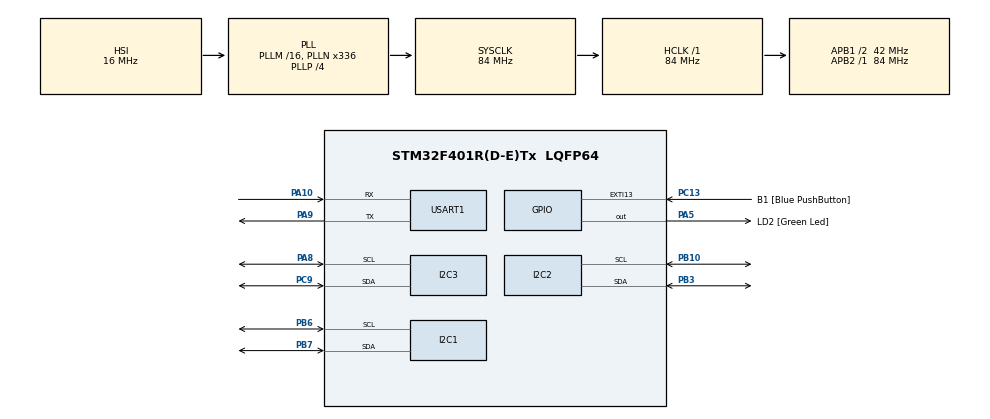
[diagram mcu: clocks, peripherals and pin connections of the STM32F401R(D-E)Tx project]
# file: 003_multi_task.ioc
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Mcu.Family=STM32F4
Mcu.Name=STM32F401R(D-E)Tx
Mcu.Package=LQFP64
NVIC.PriorityGroup=NVIC_PRIORITYGROUP_4
NVIC.TIM1_UP_TIM10_IRQn=true\:15\:0\:false\:false\:true\:false\:true\:true
NVIC.TimeBase=TIM1_UP_TIM10_IRQn
NVIC.TimeBaseIP=TIM1
NVIC.USART1_IRQn=true\:0\:0\:false\:false\:true\:true\:true\:true
PA10.Mode=Asynchronous
PA10.Signal=USART1_RX
PA13.GPIO_Label=TMS
PA13.Mode=Serial_Wire
PA13.Signal=SYS_JTMS-SWDIO
PA14.GPIO_Label=TCK
PA14.Mode=Serial_Wire
PA14.Signal=SYS_JTCK-SWCLK
PA2.GPIO_Label=USART_TX
PA2.GPIO_Mode=GPIO_MODE_AF_PP
PA2.GPIO_PuPd=GPIO_NOPULL
PA2.GPIO_Speed=GPIO_SPEED_FREQ_LOW
PA2.Signal=USART2_TX
PA3.GPIO_Label=USART_RX
PA3.GPIO_Mode=GPIO_MODE_AF_PP
PA3.GPIO_PuPd=GPIO_NOPULL
PA3.GPIO_Speed=GPIO_SPEED_FREQ_LOW
PA3.Signal=USART2_RX
PA5.GPIO_Label=LD2 [Green Led]
PA5.GPIO_Mode=GPIO_MODE_OUTPUT_PP
PA5.GPIO_PuPd=GPIO_NOPULL
PA5.GPIO_Speed=GPIO_SPEED_FREQ_LOW
PA5.Signal=GPIO_Output
PA8.Mode=I2C
PA8.Signal=I2C3_SCL
PA9.Mode=Asynchronous
PA9.Signal=USART1_TX
PB10.Mode=I2C
PB10.Signal=I2C2_SCL
PB3.Mode=I2C
PB3.Signal=I2C2_SDA
PB6.Mode=I2C
PB6.Signal=I2C1_SCL
PB7.Mode=I2C
PB7.Signal=I2C1_SDA
PC13-ANTI_TAMP.GPIO_Label=B1 [Blue PushButton]
PC13-ANTI_TAMP.GPIO_ModeDefaultEXTI=GPIO_MODE_IT_FALLING
PC13-ANTI_TAMP.GPIO_PuPd=GPIO_NOPULL
PC13-ANTI_TAMP.Signal=GPXTI13
PC14-OSC32_IN.Signal=RCC_OSC32_IN
PC15-OSC32_OUT.Signal=RCC_OSC32_OUT
PC9.Mode=I2C
PC9.Signal=I2C3_SDA
PH0\ -\ OSC_IN.Mode=HSE-External-Oscillator
PH0\ -\ OSC_IN.Signal=RCC_OSC_IN
PH1\ -\ OSC_OUT.Mode=HSE-External-Oscillator
PH1\ -\ OSC_OUT.Signal=RCC_OSC_OUT
ProjectManager.HeapSize=0x200
ProjectManager.StackSize=0x400
ProjectManager.TargetToolchain=STM32CubeIDE
RCC.AHBFreq_Value=84000000
RCC.APB1CLKDivider=RCC_HCLK_DIV2
RCC.APB1Freq_Value=42000000
RCC.APB1TimFreq_Value=84000000
RCC.APB2Freq_Value=84000000
RCC.APB2TimFreq_Value=84000000
RCC.CortexFreq_Value=84000000
RCC.HCLKFreq_Value=84000000
RCC.HSE_VALUE=8000000
RCC.HSI_VALUE=16000000
RCC.LSE_VALUE=32768
RCC.PLLN=336
RCC.PLLP=RCC_PLLP_DIV4
RCC.PLLQ=7
RCC.SYSCLKFreq_VALUE=84000000
RCC.SYSCLKSource=RCC_SYSCLKSOURCE_PLLCLK
RCC.VCOOutputFreq_Value=336000000
USART1.VirtualMode=VM_ASYNC
VP_SYS_VS_tim1.Mode=TIM1
board=NUCLEO-F401RE

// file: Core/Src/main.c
/* USER CODE BEGIN Header */
/**
  ******************************************************************************
  * @file           : main.c
  * @brief          : Main program body
  ******************************************************************************
  * @attention
  *
  * Copyright (c) 2025 STMicroelectronics.
  * All rights reserved.
  *
  * This software is licensed under terms that can be found in the LICENSE file
  * in the root directory of this software component.
  * If no LICENSE file comes with this software, it is provided AS-IS.
  *
  ******************************************************************************
  */
/* USER CODE END Header */
#include "main.h"

/* USER CODE BEGIN Includes */
#include "FreeRTOS.h"
#include "task.h"
#include <stdio.h>
#include "LCD_I2C.h"
#include "sht2x_for_stm32_hal.h"
#include "I2C_DS3231.h"
#include "print_cli.h"
/* USER CODE END Includes */

I2C_HandleTypeDef hi2c1;
I2C_HandleTypeDef hi2c2;
I2C_HandleTypeDef hi2c3;

UART_HandleTypeDef huart1;

/* USER CODE BEGIN PV */
#define DWT_CTRL   (*(volatile uint32_t*)0XE0001000)
/* USER CODE END PV */

void SystemClock_Config(void);
static void MX_GPIO_Init(void);
static void MX_I2C1_Init(void);
static void MX_I2C2_Init(void);
static void MX_USART1_UART_Init(void);
static void MX_I2C3_Init(void);
/* USER CODE BEGIN PFP */
static void readth_handle(void* parameters);
static void read_time_handle(void* parameters);
static void send_uart_handle(void* parameters);
static void display_lcd_handle(void* parameters);
void update_time();
void update_parameter_to_display(char *a , float b);

extern void SEGGER_UART_init(uint32_t);
/* USER CODE END PFP */

/* USER CODE BEGIN 0 */
DateTime date_time;
CLCD_I2C_Name LCD1;

char Time[9]     = "  :  :  ";
char Calendar[11] = "  /  /20  ";

char c_temperature[5];
float f_temperature = 0;

char c_humidity[5];
float f_humidity = 0;

/* USER CODE END 0 */

int main(void)
{

  /* USER CODE BEGIN 1 */
	TaskHandle_t read_temp_and_hum;
	TaskHandle_t read_time;
	TaskHandle_t send_uart;
	TaskHandle_t display_lcd;

  BaseType_t status;
  /* USER CODE END 1 */

  /* MCU Configuration--------------------------------------------------------*/

  /* Reset of all peripherals, Initializes the Flash interface and the Systick. */
  HAL_Init();

  /* Configure the system clock */
  SystemClock_Config();

  /* Initialize all configured peripherals */
  MX_GPIO_Init();
  MX_I2C1_Init();
  MX_I2C2_Init();
  MX_USART1_UART_Init();
  MX_I2C3_Init();
  /* USER CODE BEGIN 2 */

  SEGGER_UART_init(250000);
  // CYCLCNT enable
  DWT_CTRL |= (1 << 0);

  SEGGER_SYSVIEW_Conf();

  //SEGGER_SYSVIEW_Start();

  CLCD_I2C_Init(&LCD1,&hi2c2,0x4e,20,4);

      // init SHT21 use I2C1
      SHT2x_Init(&hi2c1);
      SHT2x_SetResolution(RES_14_12);

      //init DS3231 use I2C3
      rtc_init(&hi2c3);

      CLCD_I2C_SetCursor(&LCD1, 10, 0);
      CLCD_I2C_WriteString(&LCD1, "t:");

      CLCD_I2C_SetCursor(&LCD1, 10, 1);
      CLCD_I2C_WriteString(&LCD1, "h:");

      // init time for rtc . It just sould run once time.
    	date_time.hour =9;
      date_time.min =54;
    	date_time.sec =30;
    	date_time.day =19;
    	date_time.date =7;
    	date_time.mon =1;
    	date_time.year =25;

    	//rtc_write_time(&date_time);

    	//create tasks
    	  status = xTaskCreate(readth_handle, "reath_handle", 512, NULL, 1, &read_temp_and_hum);

    	  configASSERT(status == pdPASS);

    	  status = xTaskCreate(read_time_handle, "read_time", 512, NULL, 3, &read_time);

    	  configASSERT(status == pdPASS);

    	  status = xTaskCreate(send_uart_handle, "send_uart", 512,NULL, 2, &send_uart);

    	  configASSERT(status == pdPASS);

    	  status = xTaskCreate(display_lcd_handle, "display_lcd", 512, NULL, 3, &display_lcd);

    	  configASSERT(status == pdPASS);

  //start the freeRTOS scheduler
  vTaskStartScheduler();

  /* USER CODE END 2 */

  /* Infinite loop */
  while (1)
  {

  }
}

void SystemClock_Config(void)
{
  RCC_OscInitTypeDef RCC_OscInitStruct = {0};
  RCC_ClkInitTypeDef RCC_ClkInitStruct = {0};

  /** Configure the main internal regulator output voltage
  */
  __HAL_RCC_PWR_CLK_ENABLE();
  __HAL_PWR_VOLTAGESCALING_CONFIG(PWR_REGULATOR_VOLTAGE_SCALE2);

  /** Initializes the RCC Oscillators according to the specified parameters
  * in the RCC_OscInitTypeDef structure.
  */
  RCC_OscInitStruct.OscillatorType = RCC_OSCILLATORTYPE_HSI;
  RCC_OscInitStruct.HSIState = RCC_HSI_ON;
  RCC_OscInitStruct.HSICalibrationValue = RCC_HSICALIBRATION_DEFAULT;
  RCC_OscInitStruct.PLL.PLLState = RCC_PLL_ON;
  RCC_OscInitStruct.PLL.PLLSource = RCC_PLLSOURCE_HSI;
  RCC_OscInitStruct.PLL.PLLM = 16;
  RCC_OscInitStruct.PLL.PLLN = 336;
  RCC_OscInitStruct.PLL.PLLP = RCC_PLLP_DIV4;
  RCC_OscInitStruct.PLL.PLLQ = 7;
  if (HAL_RCC_OscConfig(&RCC_OscInitStruct) != HAL_OK)
  {
    Error_Handler();
  }

  /** Initializes the CPU, AHB and APB buses clocks
  */
  RCC_ClkInitStruct.ClockType = RCC_CLOCKTYPE_HCLK|RCC_CLOCKTYPE_SYSCLK
                              |RCC_CLOCKTYPE_PCLK1|RCC_CLOCKTYPE_PCLK2;
  RCC_ClkInitStruct.SYSCLKSource = RCC_SYSCLKSOURCE_PLLCLK;
  RCC_ClkInitStruct.AHBCLKDivider = RCC_SYSCLK_DIV1;
  RCC_ClkInitStruct.APB1CLKDivider = RCC_HCLK_DIV2;
  RCC_ClkInitStruct.APB2CLKDivider = RCC_HCLK_DIV1;

  if (HAL_RCC_ClockConfig(&RCC_ClkInitStruct, FLASH_LATENCY_2) != HAL_OK)
  {
    Error_Handler();
  }
}

static void MX_I2C1_Init(void)
{

  hi2c1.Instance = I2C1;
  hi2c1.Init.ClockSpeed = 100000;
  hi2c1.Init.DutyCycle = I2C_DUTYCYCLE_2;
  hi2c1.Init.OwnAddress1 = 0;
  hi2c1.Init.AddressingMode = I2C_ADDRESSINGMODE_7BIT;
  hi2c1.Init.DualAddressMode = I2C_DUALADDRESS_DISABLE;
  hi2c1.Init.OwnAddress2 = 0;
  hi2c1.Init.GeneralCallMode = I2C_GENERALCALL_DISABLE;
  hi2c1.Init.NoStretchMode = I2C_NOSTRETCH_DISABLE;
  if (HAL_I2C_Init(&hi2c1) != HAL_OK)
  {
    Error_Handler();
  }

}

static void MX_I2C2_Init(void)
{

  hi2c2.Instance = I2C2;
  hi2c2.Init.ClockSpeed = 100000;
  hi2c2.Init.DutyCycle = I2C_DUTYCYCLE_2;
  hi2c2.Init.OwnAddress1 = 0;
  hi2c2.Init.AddressingMode = I2C_ADDRESSINGMODE_7BIT;
  hi2c2.Init.DualAddressMode = I2C_DUALADDRESS_DISABLE;
  hi2c2.Init.OwnAddress2 = 0;
  hi2c2.Init.GeneralCallMode = I2C_GENERALCALL_DISABLE;
  hi2c2.Init.NoStretchMode = I2C_NOSTRETCH_DISABLE;
  if (HAL_I2C_Init(&hi2c2) != HAL_OK)
  {
    Error_Handler();
  }

}

static void MX_I2C3_Init(void)
{

  hi2c3.Instance = I2C3;
  hi2c3.Init.ClockSpeed = 100000;
  hi2c3.Init.DutyCycle = I2C_DUTYCYCLE_2;
  hi2c3.Init.OwnAddress1 = 0;
  hi2c3.Init.AddressingMode = I2C_ADDRESSINGMODE_7BIT;
  hi2c3.Init.DualAddressMode = I2C_DUALADDRESS_DISABLE;
  hi2c3.Init.OwnAddress2 = 0;
  hi2c3.Init.GeneralCallMode = I2C_GENERALCALL_DISABLE;
  hi2c3.Init.NoStretchMode = I2C_NOSTRETCH_DISABLE;
  if (HAL_I2C_Init(&hi2c3) != HAL_OK)
  {
    Error_Handler();
  }

}

static void MX_USART1_UART_Init(void)
{

  huart1.Instance = USART1;
  huart1.Init.BaudRate = 115200;
  huart1.Init.WordLength = UART_WORDLENGTH_8B;
  huart1.Init.StopBits = UART_STOPBITS_1;
  huart1.Init.Parity = UART_PARITY_NONE;
  huart1.Init.Mode = UART_MODE_TX_RX;
  huart1.Init.HwFlowCtl = UART_HWCONTROL_NONE;
  huart1.Init.OverSampling = UART_OVERSAMPLING_16;
  if (HAL_UART_Init(&huart1) != HAL_OK)
  {
    Error_Handler();
  }

}

static void MX_GPIO_Init(void)
{
  GPIO_InitTypeDef GPIO_InitStruct = {0};

  /* GPIO Ports Clock Enable */
  __HAL_RCC_GPIOC_CLK_ENABLE();
  __HAL_RCC_GPIOH_CLK_ENABLE();
  __HAL_RCC_GPIOA_CLK_ENABLE();
  __HAL_RCC_GPIOB_CLK_ENABLE();

  /*Configure GPIO pin Output Level */
  HAL_GPIO_WritePin(LD2_GPIO_Port, LD2_Pin, GPIO_PIN_RESET);

  /*Configure GPIO pin : B1_Pin */
  GPIO_InitStruct.Pin = B1_Pin;
  GPIO_InitStruct.Mode = GPIO_MODE_IT_FALLING;
  GPIO_InitStruct.Pull = GPIO_NOPULL;
  HAL_GPIO_Init(B1_GPIO_Port, &GPIO_InitStruct);

  /*Configure GPIO pins : USART_TX_Pin USART_RX_Pin */
  GPIO_InitStruct.Pin = USART_TX_Pin|USART_RX_Pin;
  GPIO_InitStruct.Mode = GPIO_MODE_AF_PP;
  GPIO_InitStruct.Pull = GPIO_NOPULL;
  GPIO_InitStruct.Speed = GPIO_SPEED_FREQ_LOW;
  GPIO_InitStruct.Alternate = GPIO_AF7_USART2;
  HAL_GPIO_Init(GPIOA, &GPIO_InitStruct);

  /*Configure GPIO pin : LD2_Pin */
  GPIO_InitStruct.Pin = LD2_Pin;
  GPIO_InitStruct.Mode = GPIO_MODE_OUTPUT_PP;
  GPIO_InitStruct.Pull = GPIO_NOPULL;
  GPIO_InitStruct.Speed = GPIO_SPEED_FREQ_LOW;
  HAL_GPIO_Init(LD2_GPIO_Port, &GPIO_InitStruct);

}

/* USER CODE BEGIN 4 */
static void readth_handle(void* parameters){
	while(1){
		SEGGER_SYSVIEW_PrintfTarget("Task read temp and hum run");
	    f_temperature = SHT2x_GetTemperature(1);
	    f_humidity = SHT2x_GetRelativeHumidity(1);
	 	vTaskDelay(pdMS_TO_TICKS(2000));
	}
}
static void read_time_handle(void* parameters){
	while(1){
		SEGGER_SYSVIEW_PrintfTarget("Task read time run");
		rtc_read_time(&date_time);
	 	vTaskDelay(pdMS_TO_TICKS(800));
	}

}
static void send_uart_handle(void* parameters){
	while(1){
		SEGGER_SYSVIEW_PrintfTarget("Task uart run");
		update_time();
		print_cli("time: %s date: %s temperature: %.1f humidity: %.1f\n",Time,Calendar,f_temperature,f_humidity);
	 	vTaskDelay(pdMS_TO_TICKS(5000));
	}

}
static void display_lcd_handle(void* parameters){
	while(1){
	  SEGGER_SYSVIEW_PrintfTarget("Task display_lcd run");
	  update_time();
	  CLCD_I2C_SetCursor(&LCD1, 0, 0);
	  CLCD_I2C_WriteString(&LCD1,Time);

	  CLCD_I2C_SetCursor(&LCD1, 0, 1);
	  CLCD_I2C_WriteString(&LCD1,Calendar);

	  update_parameter_to_display(c_humidity,f_humidity);
	  CLCD_I2C_SetCursor(&LCD1, 12, 1);
	  CLCD_I2C_WriteString(&LCD1, c_humidity);

	  update_parameter_to_display(c_temperature,f_temperature);
	  CLCD_I2C_SetCursor(&LCD1, 12, 0);
	  CLCD_I2C_WriteString(&LCD1, c_temperature);
	  vTaskDelay(pdMS_TO_TICKS(1000));
	}
}

void update_time(){
  Time[7]     = date_time.sec % 10 + 48; // + 48 because convert from int to char
  Time[6]     = date_time.sec / 10 + 48;
  Time[4]     = date_time.min % 10 + 48;
  Time[3]     = date_time.min / 10 + 48;
  Time[1]     = date_time.hour   % 10 + 48;
  Time[0]     = date_time.hour   / 10 + 48;
  Time[8]	  = '\0';
  Calendar[9] = date_time.year   % 10 + 48;
  Calendar[8] = date_time.year   / 10 + 48;
  Calendar[4] = date_time.mon  % 10 + 48;
  Calendar[3] = date_time.mon  / 10 + 48;
  Calendar[1] = date_time.date   % 10 + 48;
  Calendar[0] = date_time.date   / 10 + 48;
  Calendar[10]= '\0';
}

void update_parameter_to_display(char *a , float b) {
    // update from float to char
    sprintf(a, "%.1f", b);
}

/* USER CODE END 4 */

void HAL_TIM_PeriodElapsedCallback(TIM_HandleTypeDef *htim)
{
  if (htim->Instance == TIM1) {
    HAL_IncTick();
  }
}

void Error_Handler(void)
{
  __disable_irq();
  while (1)
  {
  }
}
